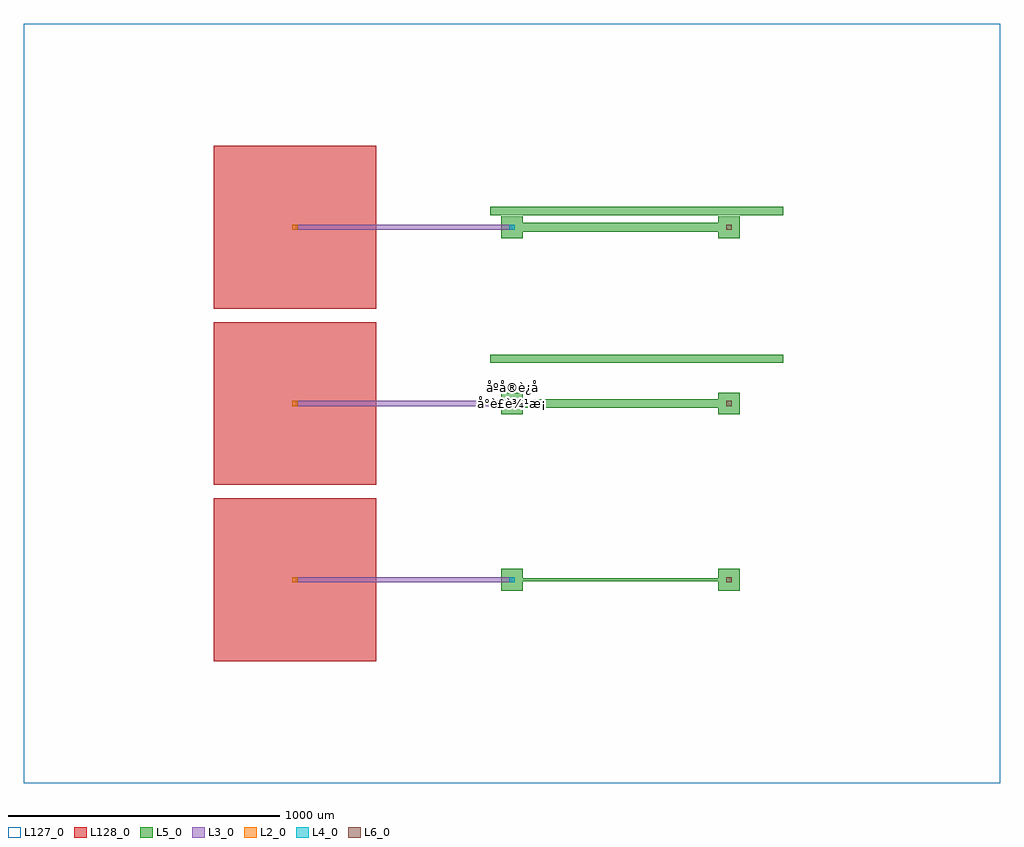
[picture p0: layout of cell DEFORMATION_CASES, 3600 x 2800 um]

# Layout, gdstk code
import gdstk
lib = gdstk.Library(unit=1e-6, precision=1e-09)
def R(c, l, rs):  # rectangles x0, y0, x1, y1
    for r in rs: c.add(gdstk.rectangle(r[:2], r[2:], *l))
def A(c, l, x, y, w, h, nx, ny, dx, dy):  # array of equal rectangles
    R(c, l, [(x+i*dx, y+j*dy, x+i*dx+w, y+j*dy+h) for i in range(nx) for j in range(ny)])
def P(c, l, *ps):  # polygons
    for p in ps: c.add(gdstk.Polygon(p, *l))
L2_0 = (2, 0)
L3_0 = (3, 0)
L4_0 = (4, 0)
L5_0 = (5, 0)
L6_0 = (6, 0)
L127_0 = (127, 0)
L128_0 = (128, 0)

deformation_cases = lib.new_cell('DEFORMATION_CASES')
A(deformation_cases, L2_0, -810, -660, 20, 20, 1, 3, 0, 650)
A(deformation_cases, L4_0, -10, -660, 20, 20, 1, 3, 0, 650)
R(deformation_cases, L5_0, [(-80,150,1000,180), (-80,695,1000,725)])
P(deformation_cases, L5_0, [(40,-16),(760,-16),(760,-40),(840,-40),(840,40),(760,40),(760,16),(40,16),(40,40),(-40,40),(-40,-40),(40,-40)],
  [(40,634),(760,634),(760,610),(840,610),(840,690),(760,690),(760,666),(40,666),(40,690),(-40,690),(-40,610),(40,610)],
  [(40,-656),(760,-656),(760,-690),(840,-690),(840,-610),(760,-610),(760,-644),(40,-644),(40,-610),(-40,-610),(-40,-690),(40,-690)])
A(deformation_cases, L6_0, 790, -660, 20, 20, 1, 3, 0, 650)
R(deformation_cases, L127_0, [(-1800,-1400,1800,1400)])
A(deformation_cases, L128_0, -1100, -950, 600, 600, 1, 3, 0, 650)
deformation_cases.add(gdstk.FlexPath([(-800,0),(0,0)], 20, ends="flush", simple_path=True, layer=3, datatype=0))  # L3_0
deformation_cases.add(gdstk.FlexPath([(-800,650),(0,650)], 20, ends="flush", simple_path=True, layer=3, datatype=0))  # L3_0
deformation_cases.add(gdstk.FlexPath([(-800,-650),(0,-650)], 20, ends="flush", simple_path=True, layer=3, datatype=0))  # L3_0
deformation_cases.add(gdstk.Label('å°\x81è£\x85è¾¹æ¡\x86', (0,0), layer=127, texttype=0))
deformation_cases.add(gdstk.Label('è\x8a¯ç\x89\x87è¾¹æ¡\x86', (0,10), layer=128, texttype=0))
deformation_cases.add(gdstk.Label('è¿\x90å\x8a¨è¿\x87å\xad\x94', (0,20), layer=2, texttype=0))
deformation_cases.add(gdstk.Label('è¿\x90å\x8a¨RDL', (0,30), layer=3, texttype=0))
deformation_cases.add(gdstk.Label('è¿\x90å\x8a¨è¿\x87å\xad\x94', (0,40), layer=4, texttype=0))
deformation_cases.add(gdstk.Label('å\x9bºå®\x9aRDL', (0,50), layer=5, texttype=0))
deformation_cases.add(gdstk.Label('å\x9bºå®\x9aè¿\x87å\xad\x94', (0,60), layer=6, texttype=0))

lib.write_gds('DEFORMATION_CASES.gds')
